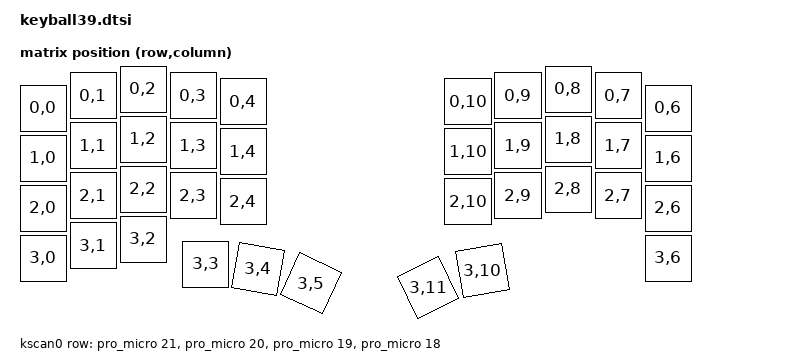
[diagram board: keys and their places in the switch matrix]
#include <dt-bindings/zmk/matrix_transform.h>
#include <physical_layouts.dtsi>

/ {
    chosen {
        zephyr,display = &oled;
	zmk,physical-layout = &keyball_physical_layout;
    };

	keyball_physical_layout: keyball_physical_layout {
        compatible = "zmk,physical-layout";
        display-name = "Default";
        transform = <&default_transform>;
        kscan = <&kscan0>;

        keys  //                     w   h    x    y     rot    rx    ry
            = <&key_physical_attrs 100 100    0   38       0     0     0>
            , <&key_physical_attrs 100 100  100   13       0     0     0>
            , <&key_physical_attrs 100 100  200    0       0     0     0>
            , <&key_physical_attrs 100 100  300   13       0     0     0>
            , <&key_physical_attrs 100 100  400   25       0     0     0>
            , <&key_physical_attrs 100 100  850   25       0     0     0>
            , <&key_physical_attrs 100 100  950   13       0     0     0>
            , <&key_physical_attrs 100 100 1050    0       0     0     0>
            , <&key_physical_attrs 100 100 1150   13       0     0     0>
            , <&key_physical_attrs 100 100 1250   38       0     0     0>
            , <&key_physical_attrs 100 100    0  138       0     0     0>
            , <&key_physical_attrs 100 100  100  113       0     0     0>
            , <&key_physical_attrs 100 100  200  100       0     0     0>
            , <&key_physical_attrs 100 100  300  113       0     0     0>
            , <&key_physical_attrs 100 100  400  125       0     0     0>
            , <&key_physical_attrs 100 100  850  125       0     0     0>
            , <&key_physical_attrs 100 100  950  113       0     0     0>
            , <&key_physical_attrs 100 100 1050  100       0     0     0>
            , <&key_physical_attrs 100 100 1150  113       0     0     0>
            , <&key_physical_attrs 100 100 1250  138       0     0     0>
            , <&key_physical_attrs 100 100    0  238       0     0     0>
            , <&key_physical_attrs 100 100  100  213       0     0     0>
            , <&key_physical_attrs 100 100  200  200       0     0     0>
            , <&key_physical_attrs 100 100  300  213       0     0     0>
            , <&key_physical_attrs 100 100  400  225       0     0     0>
            , <&key_physical_attrs 100 100  850  225       0     0     0>
            , <&key_physical_attrs 100 100  950  213       0     0     0>
            , <&key_physical_attrs 100 100 1050  200       0     0     0>
            , <&key_physical_attrs 100 100 1150  213       0     0     0>
            , <&key_physical_attrs 100 100 1250  238       0     0     0>
            , <&key_physical_attrs 100 100    0  338       0     0     0>
            , <&key_physical_attrs 100 100  100  313       0     0     0>
            , <&key_physical_attrs 100 100  200  300       0     0     0>
            , <&key_physical_attrs 100 100  325  350       0     0     0>
            , <&key_physical_attrs 100 100  510  260    1000 (-50) (-100)>
            , <&key_physical_attrs 100 100   70  210    2500 (-50)  1400>
            , <&key_physical_attrs 100 100 1100  875 (-2600) (-50)  1400>
            , <&key_physical_attrs 100 100  775  525 (-1000) (-50) (-100)>
            , <&key_physical_attrs 100 100 1250  338       0     0     0>
            ;
    };

    default_transform: keymap_transform_0 {
		compatible = "zmk,matrix-transform";
        columns = <12>;
        rows = <4>;

        map = <
            RC(0,0) RC(0,1) RC(0,2) RC(0,3) RC(0,4)                  RC(0,10) RC(0,9) RC(0,8) RC(0,7) RC(0,6)
            RC(1,0) RC(1,1) RC(1,2) RC(1,3) RC(1,4)                  RC(1,10) RC(1,9) RC(1,8) RC(1,7) RC(1,6)
            RC(2,0) RC(2,1) RC(2,2) RC(2,3) RC(2,4)                  RC(2,10) RC(2,9) RC(2,8) RC(2,7) RC(2,6)
            RC(3,0) RC(3,1) RC(3,2) RC(3,3) RC(3,4) RC(3,5) RC(3,11) RC(3,10)                         RC(3,6)
        >;
    };
	
    kscan0: kscan {
        compatible = "zmk,kscan-gpio-matrix";
        wakeup-source;
        label = "KSCAN";

        diode-direction = "col2row";
		row-gpios
			= <&pro_micro 21 (GPIO_ACTIVE_HIGH | GPIO_PULL_DOWN)>
			, <&pro_micro 20 (GPIO_ACTIVE_HIGH | GPIO_PULL_DOWN)>
			, <&pro_micro 19 (GPIO_ACTIVE_HIGH | GPIO_PULL_DOWN)>
			, <&pro_micro 18 (GPIO_ACTIVE_HIGH | GPIO_PULL_DOWN)>
            ;
    };
};    

&pinctrl {
    i2c0_default: i2c0_default {
        group1 {
            psels = <NRF_PSEL(TWIM_SDA, 0, 17)>,
                    <NRF_PSEL(TWIM_SCL, 0, 20)>;
        };
    };

    i2c0_sleep: i2c0_sleep {
        group1 {
            psels = <NRF_PSEL(TWIM_SDA, 0, 17)>,
                    <NRF_PSEL(TWIM_SCL, 0, 20)>;
            low-power-enable;
        };
    };
};

&i2c0 {
    status = "okay";
    compatible = "nordic,nrf-twi";
    pinctrl-0 = <&i2c0_default>;
    pinctrl-1 = <&i2c0_sleep>;
    pinctrl-names = "default", "sleep";

    oled: ssd1306@3c {
        compatible = "solomon,ssd1306fb";
        reg = <0x3c>;
        width = <128>;
        height = <32>;
        segment-offset = <0>;
        page-offset = <0>;
        display-offset = <0>;
        multiplex-ratio = <31>;
        segment-remap;
        com-invdir;
        com-sequential;
        inversion-on;
        prechargep = <0x22>;
    };
};
